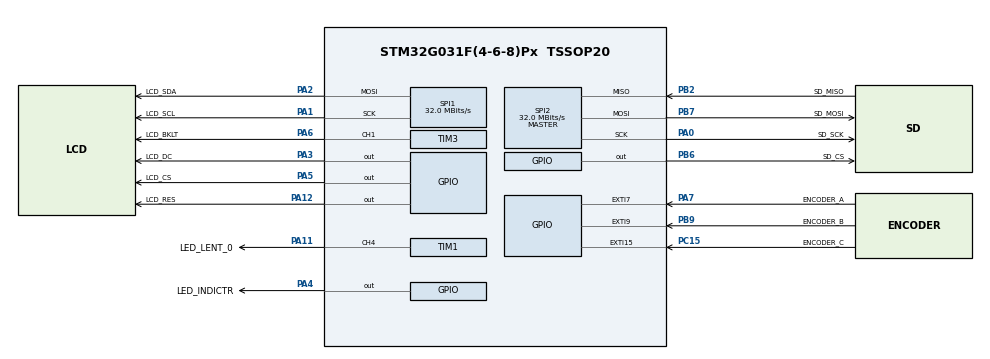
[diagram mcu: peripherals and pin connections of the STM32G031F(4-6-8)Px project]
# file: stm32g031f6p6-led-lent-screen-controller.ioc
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Dma.Request0=SPI1_TX
Dma.Request1=SPI2_RX
Dma.Request2=SPI2_TX
Dma.Request3=TIM1_CH4
Dma.SPI1_TX.0.Direction=DMA_MEMORY_TO_PERIPH
Dma.SPI1_TX.0.EventEnable=DISABLE
Dma.SPI1_TX.0.Instance=DMA1_Channel1
Dma.SPI1_TX.0.MemDataAlignment=DMA_MDATAALIGN_HALFWORD
Dma.SPI1_TX.0.MemInc=DMA_MINC_ENABLE
Dma.SPI1_TX.0.Mode=DMA_NORMAL
Dma.SPI1_TX.0.PeriphDataAlignment=DMA_PDATAALIGN_HALFWORD
Dma.SPI1_TX.0.PeriphInc=DMA_PINC_DISABLE
Dma.SPI1_TX.0.Polarity=HAL_DMAMUX_REQ_GEN_RISING
Dma.SPI1_TX.0.Priority=DMA_PRIORITY_LOW
Dma.SPI1_TX.0.RequestNumber=1
Dma.SPI1_TX.0.SignalID=NONE
Dma.SPI1_TX.0.SyncEnable=DISABLE
Dma.SPI1_TX.0.SyncPolarity=HAL_DMAMUX_SYNC_NO_EVENT
Dma.SPI1_TX.0.SyncRequestNumber=1
Dma.SPI1_TX.0.SyncSignalID=NONE
Dma.SPI2_RX.1.Direction=DMA_PERIPH_TO_MEMORY
Dma.SPI2_RX.1.EventEnable=DISABLE
Dma.SPI2_RX.1.Instance=DMA1_Channel2
Dma.SPI2_RX.1.MemDataAlignment=DMA_MDATAALIGN_BYTE
Dma.SPI2_RX.1.MemInc=DMA_MINC_ENABLE
Dma.SPI2_RX.1.Mode=DMA_NORMAL
Dma.SPI2_RX.1.PeriphDataAlignment=DMA_PDATAALIGN_BYTE
Dma.SPI2_RX.1.PeriphInc=DMA_PINC_DISABLE
Dma.SPI2_RX.1.Polarity=HAL_DMAMUX_REQ_GEN_RISING
Dma.SPI2_RX.1.Priority=DMA_PRIORITY_MEDIUM
Dma.SPI2_RX.1.RequestNumber=1
Dma.SPI2_RX.1.SignalID=NONE
Dma.SPI2_RX.1.SyncEnable=DISABLE
Dma.SPI2_RX.1.SyncPolarity=HAL_DMAMUX_SYNC_NO_EVENT
Dma.SPI2_RX.1.SyncRequestNumber=1
Dma.SPI2_RX.1.SyncSignalID=NONE
Dma.SPI2_TX.2.Direction=DMA_MEMORY_TO_PERIPH
Dma.SPI2_TX.2.EventEnable=DISABLE
Dma.SPI2_TX.2.Instance=DMA1_Channel3
Dma.SPI2_TX.2.MemDataAlignment=DMA_MDATAALIGN_BYTE
Dma.SPI2_TX.2.MemInc=DMA_MINC_ENABLE
Dma.SPI2_TX.2.Mode=DMA_NORMAL
Dma.SPI2_TX.2.PeriphDataAlignment=DMA_PDATAALIGN_BYTE
Dma.SPI2_TX.2.PeriphInc=DMA_PINC_DISABLE
Dma.SPI2_TX.2.Polarity=HAL_DMAMUX_REQ_GEN_RISING
Dma.SPI2_TX.2.Priority=DMA_PRIORITY_MEDIUM
Dma.SPI2_TX.2.RequestNumber=1
Dma.SPI2_TX.2.SignalID=NONE
Dma.SPI2_TX.2.SyncEnable=DISABLE
Dma.SPI2_TX.2.SyncPolarity=HAL_DMAMUX_SYNC_NO_EVENT
Dma.SPI2_TX.2.SyncRequestNumber=1
Dma.SPI2_TX.2.SyncSignalID=NONE
Dma.TIM1_CH4.3.Direction=DMA_MEMORY_TO_PERIPH
Dma.TIM1_CH4.3.EventEnable=DISABLE
Dma.TIM1_CH4.3.Instance=DMA1_Channel4
Dma.TIM1_CH4.3.MemDataAlignment=DMA_MDATAALIGN_HALFWORD
Dma.TIM1_CH4.3.MemInc=DMA_MINC_ENABLE
Dma.TIM1_CH4.3.Mode=DMA_CIRCULAR
Dma.TIM1_CH4.3.PeriphDataAlignment=DMA_PDATAALIGN_HALFWORD
Dma.TIM1_CH4.3.PeriphInc=DMA_PINC_DISABLE
Dma.TIM1_CH4.3.Polarity=HAL_DMAMUX_REQ_GEN_RISING
Dma.TIM1_CH4.3.Priority=DMA_PRIORITY_VERY_HIGH
Dma.TIM1_CH4.3.RequestNumber=1
Dma.TIM1_CH4.3.SignalID=NONE
Dma.TIM1_CH4.3.SyncEnable=DISABLE
Dma.TIM1_CH4.3.SyncPolarity=HAL_DMAMUX_SYNC_NO_EVENT
Dma.TIM1_CH4.3.SyncRequestNumber=1
Dma.TIM1_CH4.3.SyncSignalID=NONE
Mcu.Family=STM32G0
Mcu.Name=STM32G031F(4-6-8)Px
Mcu.Package=TSSOP20
NVIC.DMA1_Ch4_5_DMAMUX1_OVR_IRQn=true\:0\:0\:true\:false\:true\:false\:true\:true
NVIC.DMA1_Channel1_IRQn=true\:2\:0\:true\:false\:true\:false\:true\:true
NVIC.DMA1_Channel2_3_IRQn=true\:1\:0\:true\:false\:true\:false\:true\:true
NVIC.EXTI4_15_IRQn=true\:0\:0\:false\:false\:true\:true\:true\:true
PA0.GPIO_Label=SD_SCK
PA0.GPIO_PuPd=GPIO_PULLUP
PA0.GPIO_Speed=GPIO_SPEED_FREQ_VERY_HIGH
PA0.Mode=Full_Duplex_Master
PA0.Signal=SPI2_SCK
PA1.GPIO_Label=LCD_SCL
PA1.GPIO_PuPd=GPIO_PULLUP
PA1.GPIO_Speed=GPIO_SPEED_FREQ_VERY_HIGH
PA1.Mode=TX_Only_Simplex_Unidirect_Master
PA1.Signal=SPI1_SCK
PA11\ [PA9].GPIO_Label=LED_LENT_0
PA11\ [PA9].GPIO_ModeDefaultPP=GPIO_MODE_AF_OD
PA11\ [PA9].GPIO_Speed=GPIO_SPEED_FREQ_HIGH
PA11\ [PA9].Signal=S_TIM1_CH4
PA12\ [PA10].GPIO_Label=LCD_RES
PA12\ [PA10].GPIO_PuPd=GPIO_PULLUP
PA12\ [PA10].PinState=GPIO_PIN_SET
PA12\ [PA10].Signal=GPIO_Output
PA13.Mode=Serial_Wire
PA13.Signal=SYS_SWDIO
PA14-BOOT0.Mode=Serial_Wire
PA14-BOOT0.Signal=SYS_SWCLK
PA14-BOOT0__PA15.StandardMode=true
PA2.GPIO_Label=LCD_SDA
PA2.GPIO_PuPd=GPIO_PULLUP
PA2.GPIO_Speed=GPIO_SPEED_FREQ_VERY_HIGH
PA2.Mode=TX_Only_Simplex_Unidirect_Master
PA2.Signal=SPI1_MOSI
PA3.GPIO_Label=LCD_DC
PA3.GPIO_Speed=GPIO_SPEED_FREQ_HIGH
PA3.PinState=GPIO_PIN_SET
PA3.Signal=GPIO_Output
PA4.GPIO_Label=LED_INDICTR
PA4.GPIO_PuPd=GPIO_PULLUP
PA4.GPIO_Speed=GPIO_SPEED_FREQ_HIGH
PA4.PinState=GPIO_PIN_SET
PA4.Signal=GPIO_Output
PA5.GPIO_Label=LCD_CS
PA5.GPIO_PuPd=GPIO_PULLUP
PA5.GPIO_Speed=GPIO_SPEED_FREQ_HIGH
PA5.PinState=GPIO_PIN_SET
PA5.Signal=GPIO_Output
PA6.GPIO_Label=LCD_BKLT
PA6.Signal=S_TIM3_CH1
PA7.GPIO_Label=ENCODER_A
PA7.GPIO_ModeDefaultEXTI=GPIO_MODE_IT_RISING_FALLING
PA7.GPIO_PuPd=GPIO_PULLUP
PA7.Signal=GPXTI7
PB0__PB1__PB2__PA8.StandardMode=true
PB2.GPIO_Label=SD_MISO
PB2.GPIO_PuPd=GPIO_PULLUP
PB2.GPIO_Speed=GPIO_SPEED_FREQ_VERY_HIGH
PB2.Mode=Full_Duplex_Master
PB2.Signal=SPI2_MISO
PB3__PB4__PB5__PB6.StandardMode=true
PB6.GPIO_Label=SD_CS
PB6.GPIO_PuPd=GPIO_PULLUP
PB6.GPIO_Speed=GPIO_SPEED_FREQ_HIGH
PB6.PinState=GPIO_PIN_SET
PB6.Signal=GPIO_Output
PB7.GPIO_Label=SD_MOSI
PB7.GPIO_PuPd=GPIO_PULLUP
PB7.GPIO_Speed=GPIO_SPEED_FREQ_VERY_HIGH
PB7.Mode=Full_Duplex_Master
PB7.Signal=SPI2_MOSI
PB7__PB8.StandardMode=true
PB9.GPIO_Label=ENCODER_B
PB9.GPIO_ModeDefaultEXTI=GPIO_MODE_IT_RISING_FALLING
PB9.GPIO_PuPd=GPIO_PULLUP
PB9.Signal=GPXTI9
PC14-OSC32_IN\ (PC14)__PB9.StandardMode=true
PC15-OSC32_OUT\ (PC15).GPIO_Label=ENCODER_C
PC15-OSC32_OUT\ (PC15).GPIO_ModeDefaultEXTI=GPIO_MODE_IT_RISING_FALLING
PC15-OSC32_OUT\ (PC15).GPIO_PuPd=GPIO_PULLUP
PC15-OSC32_OUT\ (PC15).Signal=GPXTI15
ProjectManager.HeapSize=0x200
ProjectManager.StackSize=0x400
ProjectManager.TargetToolchain=STM32CubeIDE
RCC.ADCFreq_Value=64000000
RCC.AHBFreq_Value=64000000
RCC.CortexFreq_Value=64000000
RCC.EXTERNAL_CLOCK_VALUE=12288000
RCC.HCLKFreq_Value=64000000
RCC.HSE_VALUE=8000000
RCC.HSI_VALUE=16000000
RCC.LSE_VALUE=32768
RCC.PLLQ=RCC_PLLQ_DIV4
RCC.SYSCLKFreq_VALUE=64000000
RCC.SYSCLKSource=RCC_SYSCLKSOURCE_PLLCLK
RCC.VCOOutputFreq_Value=128000000
SH.S_TIM1_CH4.0=TIM1_CH4,PWM Generation4 CH4
SH.S_TIM3_CH1.0=TIM3_CH1,PWM Generation1 CH1
SPI1.CLKPolarity=SPI_POLARITY_HIGH
SPI1.CalculateBaudRate=32.0 MBits/s
SPI1.DataSize=SPI_DATASIZE_16BIT
SPI1.Direction=SPI_DIRECTION_2LINES
SPI1.Mode=SPI_MODE_MASTER
SPI1.VirtualType=VM_MASTER
SPI2.BaudRatePrescaler=SPI_BAUDRATEPRESCALER_2
SPI2.CalculateBaudRate=32.0 MBits/s
SPI2.Direction=SPI_DIRECTION_2LINES
SPI2.Mode=SPI_MODE_MASTER
SPI2.VirtualType=VM_MASTER
TIM1.Channel-PWM\ Generation4\ CH4=TIM_CHANNEL_4
TIM1.Period=79
TIM1.Prescaler=0
TIM1.Pulse-PWM\ Generation4\ CH4=39
TIM3.Channel-PWM\ Generation1\ CH1=TIM_CHANNEL_1
TIM3.Period=159
TIM3.Prescaler=999
TIM3.Pulse-PWM\ Generation1\ CH1=79
board=custom

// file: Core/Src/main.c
/* USER CODE BEGIN Header */
/*
 *  Copyright (C) 2019 - 2023, VadRov, all right reserved.
 *
 *  LED-контроллер для отображения графической информации на экране, состоящем из
 *  соединенных последовательно лент с адресными светодиодами на чипе ws2812b.
 *
 *  Допускается свободное распространение. При любом способе распространения указание
 *  автора ОБЯЗАТЕЛЬНО. В случае внесения изменений и распространения модификаций
 *  указание первоначального автора ОБЯЗАТЕЛЬНО. Распространяется по типу "как есть",
 *  то есть использование осуществляется на свой страх и риск.
 *  Автор не предоставляет никаких гарантий.
 *
 *  Версия: 1.1G0 (для STM32G0)
 *
 *  Общая информация
 *  LED-контроллер отображает на экране информацию из AVI-файла (файл с расширением avi,
 *  контейнер riff), кадры которого представляют собой изображения в формате несжатого
 *  bmp (данные пикселей в файле хранятся как двумерный массив).
 *  LED-контроллер собран на монтажной плате с использованием отладочного мудуля на базе
 *  микроконтроллера STM32G031F6P6/STM32G031F8P6. К микроконтроллеру подключен дисплей
 *  ST7789 (через spi), модуль (адаптер/переходник на micro-SD) SD-карты (через spi),
 *  инкрементарный механический энкодер с кнопкой. В контроллере реализован файловый менеджер
 *  с графическим интерфейсом для просмотра содержимого sd-карты и выбора файлов для
 *  воспроизведения на LED-экране. Контроллер имеет 1 выход (порт) для управления адресными
 *  светодиодными лентами. Протокол управления адресными светодиодными лентами реализован
 *  посредством PWM c DMA с таймингами управляющего сигнала, соответствующими спецификации
 *  модулей ws2812b. Для корректной передачи сигналов на первый адресный чип, выходной порт
 *  контроллера реализован по схеме открытый сток и подтянут к питанию +5В (резистор R2 на схеме),
 *  что обеспечивает уровни сигналов на входе DIN, соответствующими спецификации ws2812b.
 *  Резистор R1 ограничивает ток, проходящий через выходной вывод микроконтроллера и предохраняет
 *  его от повреждения в том случае, например, если пользователь захочет обновить ПО
 *  микроконтроллера, забыв при этом отключить его от экрана с отключенным питанием (в этом случае
 *  лента будет "тянуть питание" через этот вывод, и он может "выгореть" при превышении
 *  допустимого значения тока).
 *  Перемещение по файлам и каталогам в файловом менеджере осуществляется путем вращения
 *  ручки энкодера. Выбор avi-файла для воспроизведения или переход в подкаталог(возврат в каталог)
 *  осуществляется коротким нажатием (кликом) кнопки энкодера. Для остановки воспроизведения
 *  текущего файла следует длительно (2 и более секунд) удерживать нажатой, а затем отпустить
 *  кнопку энкодера.
 *
 *  Подготовка файлов для воспроизведения
 *  Как было отмечено выше, LED-контроллер воспроизводит AVI-файлы (файл с расширением avi,
 *  контейнер riff). Формат файла должен соответствовать спецификации microsoft. При этом кадры
 *  видеопотока AVI-файла должны быть в формате несжатого BMP (несжатые данные RGB, хранящиеся
 *  последовательно, как двумерный массив). Для генерации последовательности BMP-изображений
 *  (цветовые эффекты, бегущие строки и т.д.), формирующих непрервывный видеоряд, можно, например,
 *  воспользоваться программой Jinx!. Настройка Jinx! заключается в определении опций матрицы
 *  (ширина и высота матрицы в пикселях - в нашем случае выражается в количестве светодиодных
 *  модулей на экране по горизонтали и вертикали), а также свойств выводного устройства
 *  (куда и как сохранять изображения). Размеры матрицы задаются через Setup->Matrix Options.
 *  Параметры устройства вывода определяются через Setup->Output Devices, где следует выбрать Add.
 *  Затем в списке Devices Type выбирается пункт Bitmap Export. Требуемый каталог для хранения
 *  последовательности изображений задают через кнопку Select. Выбрав и настроив требуемый эффект,
 *  можно стартовать запись кадров в указанный каталог. Для этого необходимо выбрать в меню
 *  Setup->Start Output. По просшествии требуемого периода времени, запись можно остановить,
 *  снова выбрав в меню Setup->Start Output.
 *  Полученные кадры изображения можно "склеить" в один AVI-файл. Для этого можно использовать
 *  библиотеку ffmpeg, введя, например, такую командную строку, находясь в каталоге с картинками:
 *  	ffmpeg -i %8d.bmp -r 25 -vcodec bmp video.avi
 *  где:
 *	-i %8d.bmp - входные данные (файлы-картинки). %8d означает, что имя файла состоит из 8-значного числа;
 *	-r 25 - частота кадров (25 кадров/секунду) в получаемом видеофайле (этот параметр указан в окне Jinx!);
 *	-vcodec bmp - используется кодек bmp (указание на то, что используются несжатые данные RGB);
 *	video.avi - название выходного (целевого) файла.
 *	Другой способ получения требуемого формата изображения для LED-контроллера и крана заключается
 *	в конвертации любого видеофайла той же библиотекой ffmpeg. Например:
 *		ffmpeg -i file.mp4 -r 25 -vcodec bmp -s 60x20 video.avi
 *	где:
 *	-i file.mp4 - входной видеофайл;
 *	-r 25 - частота кадров (25 кадров/секунду) - Вы можете, например, ограничить частоту кадров;
 *	-vcodec bmp - используется кодек bmp (указание на то, что используются несжатые данные RGB);
 *	-s 60x20 - размер кадра 60 на 20 пикселей (один пиксель соответствует одному светодиодному модулю);
 *	video.avi - название выходного (целевого) файла.
 *	Дополнительной опцией -an можно исключать звуковую дорожку из файла.
 *
 *	Компоненты:
 *	- Отладочная плата (МК) STM32G031F6P6/STM32G031F8P6;
 *	- SPI дисплей на контроллере ST7789 разрешением 240x240;
 *	- Адаптер/переходник с SD карты на микро-SD;
 *	- Инкрементарный механический энкодер;
 *	- 2 резистора с номиналами: 390-680 Ом и 4.7-8.2 кОм;
 *	- Адресные светодиодные ленты для формирования экрана (в данном проекте используется 20 лент
 *	по 60 адресных светодиодов на чипе ws2812b. Итого 1200 адресных светодиода для экрана с
 *	разрешением 60х20);
 *	- Блок питания на 5В для запитывания контроллера и экрана из расчета 0.3 Вт на один модуль
 *	ws2812b (в данном проетке используется блок питания на 350 Вт. При свечении всех модулей
 *	белым цветом просадок по напряжению нет).
 *
 *	Вариант LED-экрана из лент с адресными светодиодами
 *	В данном проекте основой для крепления светодиодных лент служит обычный б/у пластиковый подоконник
 *	окрашенный в черный матовый цвет (с предварительным нанесением праймера для пластика). Пиксели
 *	экрана сформированы 20 отрезками метровых лент по 60 светодиодных модулей в каждой (всего 1200 модулей).
 *	Светодиодные ленты закреплены к основе (окрашенному подоконнику) с помощью двустороннего скотча по
 *	предварительно нанесенной разметке. Питание к лентам подведено с двух сторон, что исключает просадки
 *	напряжения в различных участках ленты.
 *
 *  https://www.youtube.com/@VadRov
 *  https://dzen.ru/vadrov
 *  https://vk.com/vadrov
 *  https://t.me/vadrov_channel
 *
 */
/* USER CODE END Header */
#include "main.h"

/* USER CODE BEGIN Includes */
#include "display.h"
#include "st7789.h"
#include <stdlib.h>
#include "filemanager.h"
#include "keyboard.h"
#include "encoder.h"
#include "ws2812b.h"
#include "avi.h"
#include "ff.h"
/* USER CODE END Includes */

/* USER CODE BEGIN PD */

//счетчик "системного времени", мс
volatile uint32_t millis = 0;

//Переменные для библиотеки FatFs
char Path[4];
FATFS FatFS;

//Обработчик энкодера
ENCODER_Handler encoder1;

#define FONT_DEFAULT	Font_8x13

/* USER CODE END PD */

void SystemClock_Config(void);
static void MX_GPIO_Init(void);
static void MX_DMA_Init(void);
static void MX_SPI1_Init(void);
static void MX_TIM3_Init(void);
static void MX_SPI2_Init(void);
static void MX_TIM1_Init(void);

int main(void)
{
    /* USER CODE BEGIN 1 */
	//Включение буфера предварительной выборки
	FLASH->ACR |= FLASH_ACR_PRFTEN;
	//Включение кеша инструкций
	FLASH->ACR |= FLASH_ACR_ICEN;
  /* USER CODE END 1 */

  /* MCU Configuration--------------------------------------------------------*/

  /* Reset of all peripherals, Initializes the Flash interface and the Systick. */
  LL_APB2_GRP1_EnableClock(LL_APB2_GRP1_PERIPH_SYSCFG);
  LL_APB1_GRP1_EnableClock(LL_APB1_GRP1_PERIPH_PWR);

  /* SysTick_IRQn interrupt configuration */
  NVIC_SetPriority(SysTick_IRQn, 3);

  /* Configure the system clock */
  SystemClock_Config();

  /* USER CODE BEGIN SysInit */
  //настраиваем системный таймер (прерывания 1000 раз в секунду)
  SysTick_Config(SystemCoreClock/1000);
  /* USER CODE END SysInit */

  /* Initialize all configured peripherals */
  MX_GPIO_Init();
  MX_DMA_Init();
  MX_SPI1_Init();
  MX_TIM3_Init();
  MX_SPI2_Init();
  MX_TIM1_Init();
  /* USER CODE BEGIN 2 */
  LCD_DMA_TypeDef dma_tx = { .dma =     DMA1,
		  	  	  	  	  	 .channel = 1 };

  LCD_BackLight_data bkl_data = { .tim_bk =         TIM3,
		  	  	  	  	  	  	  .channel_tim_bk = 1,
								  .blk_port =       0,
								  .blk_pin =        0,
								  .bk_percent =     80 };

  LCD_SPI_Connected_data spi_con = { .spi =        SPI1,
		  	  	  	  	  	  	  	 .dma_tx =     dma_tx,
									 .reset_port = LCD_RES_GPIO_Port,
									 .reset_pin =  LCD_RES_Pin,
									 .dc_port =    LCD_DC_GPIO_Port,
									 .dc_pin =     LCD_DC_Pin,
									 .cs_port =    LCD_CS_GPIO_Port,
								 	 .cs_pin =     LCD_CS_Pin };

#ifndef LCD_DYNAMIC_MEM
  LCD_Handler lcd1;
#endif

/*  Для дисплея на контроллере ST7789   */
  LCD = LCD_DisplayAdd( LCD,
#ifndef LCD_DYNAMIC_MEM
		  	  	  	  	&lcd1,
#endif
		  	  	  	  	240,
		   				240,
						ST7789_CONTROLLER_WIDTH,
						ST7789_CONTROLLER_HEIGHT,
						//Задаем смещение по ширине и высоте для нестандартных или бракованных дисплеев:
						0,		//смещение по ширине дисплейной матрицы
						0,		//смещение по высоте дисплейной матрицы
						PAGE_ORIENTATION_PORTRAIT,
						ST7789_Init,
						ST7789_SetWindow,
						ST7789_SleepIn,
						ST7789_SleepOut,
						&spi_con,
						LCD_DATA_16BIT_BUS,
						bkl_data );
  /*  Для дисплея на контроллере ILI9341   */
/*
  LCD = LCD_DisplayAdd( LCD,
#ifndef LCD_DYNAMIC_MEM
		  	  	  	  	&lcd1,
#endif
		  	  	  	  	320,
		   				240,
						ILI9341_CONTROLLER_WIDTH,
						ILI9341_CONTROLLER_HEIGHT,
						//Задаем смещение по ширине и высоте для нестандартных или бракованных дисплеев:
						0,		//смещение по ширине дисплейной матрицы
						0,		//смещение по высоте дисплейной матрицы
						//PAGE_ORIENTATION_PORTRAIT_MIRROR,
						PAGE_ORIENTATION_LANDSCAPE,
						ILI9341_Init,
						ILI9341_SetWindow,
						ILI9341_SleepIn,
						ILI9341_SleepOut,
						&spi_con,
						LCD_DATA_16BIT_BUS,
						bkl_data );
*/
    LCD_Handler *lcd = LCD; //указатель на первый дисплей в списке
  	LCD_Init(lcd);
	LCD_Fill(lcd, COLOR_BLACK);
	//------------------------------------------------------------------------------------------

	//-------------------------------- Информация об устройстве --------------------------------
	LCD_WriteString(lcd, 0, 0, "LED Panel Driver V1.1G0", &FONT_DEFAULT, COLOR_YELLOW, COLOR_BLACK, LCD_SYMBOL_PRINT_FAST);
	lcd->AtPos.y += FONT_DEFAULT.height;
	LCD_WriteString(lcd, 0, lcd->AtPos.y, "Copyright (C) 2023, VadRov", &FONT_DEFAULT, COLOR_CYAN, COLOR_BLACK, LCD_SYMBOL_PRINT_FAST);
	lcd->AtPos.y += FONT_DEFAULT.height;
	LL_mDelay(2000);

	//----------------------------------- Монтирование диска -----------------------------------
	if (f_mount(&FatFS, Path, 1) != FR_OK) {
		LCD_WriteString(lcd, 0, lcd->AtPos.y, "Disk error!", &FONT_DEFAULT, COLOR_RED, COLOR_BLACK, LCD_SYMBOL_PRINT_FAST);
		lcd->AtPos.y += FONT_DEFAULT.height;
		LCD_WriteString(lcd, 0, lcd->AtPos.y,"Insert new disk and press reset...", &FONT_DEFAULT, COLOR_YELLOW,	0x319bb1, LCD_SYMBOL_PRINT_FAST);
		while (1) ;
	}
	//------------------------------------------------------------------------------------------

	//----------------------------- Настройка файлового менеджера ------------------------------
	/* Определение цветовой схемы */
	File_Manager_Color_Scheme color_scheme_pl = { COLOR_YELLOW,		/* цвет текста наименования каталога */
			  	  	  	  	  	  	  	  	  	  COLOR_WHITE,		/* цвет текста наименования файла */
												  COLOR_BLACK,		/* цвет текста выбранного файла/каталога */
												  0x319bb1,			/* цвет фона окна менеджера (для пустых строк) */
												  0x319bb1,			/* цвет фона четных строк */
												  0x319bb1,			/* цвет фона нечетных строк */
												  COLOR_LIGHTGREY,	/* цвет курсора текущего файла/каталога */
												  COLOR_LIGHTGREY,	/* цвет ползунка вертикальной прокрутки */
												  0x319bb1,			/* цвет полосы вертикальной прокрутки */
												  1					/* флаг закрашивания курсора:
																  	  	  0 - текст выбранного файла/каталога обводится
																  	  	  	  прямоугольником цвета курсора (cursor_color).
														 	 	  	  	  >0 - фон текста выбранного файла/каталога приравнивается
														 	 	  	  	  	  цвету курсора (cursor_color) */
												 	 };

	File_Manager_Handler *fm = FileManagerNew();	/* Создание обработчика файлового менеджера */
	fm->SetDisplay(fm, lcd);						/* Дисплей, на который выводится файловый менеджер (указатель) */
	fm->SetWin(fm, 0, 0, lcd->Width, lcd->Height);  /* Параметры окна файлового менеджера:
	  	  	  	  	  	  	  	  	  	  	  	  	   - позиция левого верхнего угла окна по горизонтали;
	  	  	  	  	  	  	  	  	  	  	  	  	   - позиция левого верхнего угла окна по вертикали;
	  	  	  	  	  	  	  	  	  	  	  	  	   - ширина окна;
	  	  	  	  	  	  	  	  	  	  	  	  	   - высота окна. */
	fm->SetColor(fm, &color_scheme_pl);				 /* Цветовая схема (указатель) */
	fm->SetFont(fm, &FONT_DEFAULT);					 /* Шрифт (указатель) */
	fm->SetKeys(fm, KEYB_UP, KEYB_DOWN, KEYB_RIGHT); /* Кнопки управления:
	   	   	   	   	   	   	   	   	   	   	   	   	    - номер бита кнопки вверх;
	   	   	   	   	   	   	   	   	   	   	   	   	    - номер бита кнопки вниз;
	   	   	   	   	   	   	   	   	   	   	   	   	    - номер бита кнопки ввод/выбор. */
	//-----------------------------------------------------------------------------------------

	//----------------------------------- Настройка энкодера ----------------------------------
	//Будем работать с модулем Keyboard и эмулировать для него нажатие кнопок через
	//специальную функцию, связывающую обработчик энкодера с модулем для работы с кнопками.
	//Такую роль выполняет функция EncoderEventToKeyboard, находящаяся в файле stm32f4xx_it.c
	KEYB_all_button = 3; //Используем 3 кнопки для модуля Keyboard
	//Инициализируем обработчик энкодера
	EncoderInit(&encoder1,
				ENCODER_A_GPIO_Port,
				ENCODER_A_Pin,
				ENCODER_B_GPIO_Port,
				ENCODER_B_Pin,
				ENCODER_C_GPIO_Port,
				ENCODER_C_Pin);
	EncoderSetInversion(&encoder1, ENCODER_INV_ON); //Если энкодер работает в противоположную сторону
													 //от ожидаемого направления, то здесь можно задать
													 //инверсию для энкодера, передав функции параметр ENCODER_INV_ON.
													 //Это позволит не переподключать выводы энкодера A и B.
	//------------------------------------------------------------------------------------------

	//------------------------------- Создание LED устройства ----------------------------------
	//Создание LED портов с учетом возможностей периферии (наличие свободных таймеров с каналами PWM DMA)
	LED_Port *ports = LED_AddNewPort(0, 1200, TIM1, LL_TIM_CHANNEL_CH4, DMA1, LL_DMA_CHANNEL_4);
	//LED_Handler *led = LED_CreateDevice(LED_LEFTtoRIGHT_UPtoDOWN, 60, 255, ports);
	LED_Handler *led = LED_CreateDevice(LED_DOWNtoUP_LEFTtoRIGHT, 60, 63, ports);
	if (!led) {
		LCD_WriteString(lcd, 0, lcd->AtPos.y, "Error! Failed to create device!", &FONT_DEFAULT, COLOR_RED, COLOR_BLACK, LCD_SYMBOL_PRINT_FAST);
		while (1) ;
	}
	LED_StartDevice(led);
	//--------------------------------------------------------------------------------------------

  /* USER CODE END 2 */

  /* Infinite loop */
  /* USER CODE BEGIN WHILE */
  while (1)
  {
		/* Заливаем дисплей синим цветом (цветом фона файлового менеджера) */
		LCD_Fill(lcd, 0x319bb1);
		/* Запуск менеджера файлов */
		fm->Show(fm);
		/* Проверка статуса завершения работы менеджера файлов */
		if (fm->GetStatus(fm) == File_Manager_OK) { /* Завершение без ошибок с выбором файла? */
			LCD_SleepIn(lcd);
			while (!PlayAVI(fm->GetFilePath(fm), fm->GetFileName(fm), led, 0, 0, led->width, led->height)) { ; }
			LCD_SleepOut(lcd);
		}
		else {
			/* Выводим сообщение, что работа файлового менеджера завершена с ошибкой */
			LCD_WriteString(lcd, 0, 0, "Error FileManager!",
							fm->font, fm->color_scheme->text_color_file,
					        fm->color_scheme->bg_color, LCD_SYMBOL_PRINT_FAST);
			/* Ожидаем нажатия любой кнопки */
			while(!KEYB_kbhit()) ;
			(void)KEYB_Inkeys();
		}
    /* USER CODE END WHILE */

  }
}

void SystemClock_Config(void)
{
  LL_FLASH_SetLatency(LL_FLASH_LATENCY_2);
  while(LL_FLASH_GetLatency() != LL_FLASH_LATENCY_2)
  {
  }

  /* HSI configuration and activation */
  LL_RCC_HSI_Enable();
  while(LL_RCC_HSI_IsReady() != 1)
  {
  }

  /* Main PLL configuration and activation */
  LL_RCC_PLL_ConfigDomain_SYS(LL_RCC_PLLSOURCE_HSI, LL_RCC_PLLM_DIV_1, 8, LL_RCC_PLLR_DIV_2);
  LL_RCC_PLL_Enable();
  LL_RCC_PLL_EnableDomain_SYS();
  while(LL_RCC_PLL_IsReady() != 1)
  {
  }

  /* Set AHB prescaler*/
  LL_RCC_SetAHBPrescaler(LL_RCC_SYSCLK_DIV_1);

  /* Sysclk activation on the main PLL */
  LL_RCC_SetSysClkSource(LL_RCC_SYS_CLKSOURCE_PLL);
  while(LL_RCC_GetSysClkSource() != LL_RCC_SYS_CLKSOURCE_STATUS_PLL)
  {
  }

  /* Set APB1 prescaler*/
  LL_RCC_SetAPB1Prescaler(LL_RCC_APB1_DIV_1);

  LL_Init1msTick(64000000);

  /* Update CMSIS variable (which can be updated also through SystemCoreClockUpdate function) */
  LL_SetSystemCoreClock(64000000);
}

static void MX_SPI1_Init(void)
{

  LL_SPI_InitTypeDef SPI_InitStruct = {0};

  LL_GPIO_InitTypeDef GPIO_InitStruct = {0};

  /* Peripheral clock enable */
  LL_APB2_GRP1_EnableClock(LL_APB2_GRP1_PERIPH_SPI1);

  LL_IOP_GRP1_EnableClock(LL_IOP_GRP1_PERIPH_GPIOA);
  /**SPI1 GPIO Configuration
  PA1   ------> SPI1_SCK
  PA2   ------> SPI1_MOSI
  */
  GPIO_InitStruct.Pin = LCD_SCL_Pin;
  GPIO_InitStruct.Mode = LL_GPIO_MODE_ALTERNATE;
  GPIO_InitStruct.Speed = LL_GPIO_SPEED_FREQ_VERY_HIGH;
  GPIO_InitStruct.OutputType = LL_GPIO_OUTPUT_PUSHPULL;
  GPIO_InitStruct.Pull = LL_GPIO_PULL_UP;
  GPIO_InitStruct.Alternate = LL_GPIO_AF_0;
  LL_GPIO_Init(LCD_SCL_GPIO_Port, &GPIO_InitStruct);

  GPIO_InitStruct.Pin = LCD_SDA_Pin;
  GPIO_InitStruct.Mode = LL_GPIO_MODE_ALTERNATE;
  GPIO_InitStruct.Speed = LL_GPIO_SPEED_FREQ_VERY_HIGH;
  GPIO_InitStruct.OutputType = LL_GPIO_OUTPUT_PUSHPULL;
  GPIO_InitStruct.Pull = LL_GPIO_PULL_UP;
  GPIO_InitStruct.Alternate = LL_GPIO_AF_0;
  LL_GPIO_Init(LCD_SDA_GPIO_Port, &GPIO_InitStruct);

  /* SPI1 DMA Init */

  /* SPI1_TX Init */
  LL_DMA_SetPeriphRequest(DMA1, LL_DMA_CHANNEL_1, LL_DMAMUX_REQ_SPI1_TX);

  LL_DMA_SetDataTransferDirection(DMA1, LL_DMA_CHANNEL_1, LL_DMA_DIRECTION_MEMORY_TO_PERIPH);

  LL_DMA_SetChannelPriorityLevel(DMA1, LL_DMA_CHANNEL_1, LL_DMA_PRIORITY_LOW);

  LL_DMA_SetMode(DMA1, LL_DMA_CHANNEL_1, LL_DMA_MODE_NORMAL);

  LL_DMA_SetPeriphIncMode(DMA1, LL_DMA_CHANNEL_1, LL_DMA_PERIPH_NOINCREMENT);

  LL_DMA_SetMemoryIncMode(DMA1, LL_DMA_CHANNEL_1, LL_DMA_MEMORY_INCREMENT);

  LL_DMA_SetPeriphSize(DMA1, LL_DMA_CHANNEL_1, LL_DMA_PDATAALIGN_HALFWORD);

  LL_DMA_SetMemorySize(DMA1, LL_DMA_CHANNEL_1, LL_DMA_MDATAALIGN_HALFWORD);

  /* SPI1 parameter configuration*/
  SPI_InitStruct.TransferDirection = LL_SPI_FULL_DUPLEX;
  SPI_InitStruct.Mode = LL_SPI_MODE_MASTER;
  SPI_InitStruct.DataWidth = LL_SPI_DATAWIDTH_16BIT;
  SPI_InitStruct.ClockPolarity = LL_SPI_POLARITY_HIGH;
  SPI_InitStruct.ClockPhase = LL_SPI_PHASE_1EDGE;
  SPI_InitStruct.NSS = LL_SPI_NSS_SOFT;
  SPI_InitStruct.BaudRate = LL_SPI_BAUDRATEPRESCALER_DIV2;
  SPI_InitStruct.BitOrder = LL_SPI_MSB_FIRST;
  SPI_InitStruct.CRCCalculation = LL_SPI_CRCCALCULATION_DISABLE;
  SPI_InitStruct.CRCPoly = 7;
  LL_SPI_Init(SPI1, &SPI_InitStruct);
  LL_SPI_SetStandard(SPI1, LL_SPI_PROTOCOL_MOTOROLA);
  LL_SPI_EnableNSSPulseMgt(SPI1);

}

static void MX_SPI2_Init(void)
{

  LL_SPI_InitTypeDef SPI_InitStruct = {0};

  LL_GPIO_InitTypeDef GPIO_InitStruct = {0};

  /* Peripheral clock enable */
  LL_APB1_GRP1_EnableClock(LL_APB1_GRP1_PERIPH_SPI2);

  LL_IOP_GRP1_EnableClock(LL_IOP_GRP1_PERIPH_GPIOB);
  LL_IOP_GRP1_EnableClock(LL_IOP_GRP1_PERIPH_GPIOA);
  /**SPI2 GPIO Configuration
  PB7   ------> SPI2_MOSI
  PA0   ------> SPI2_SCK
  PB2   ------> SPI2_MISO
  */
  GPIO_InitStruct.Pin = SD_MOSI_Pin;
  GPIO_InitStruct.Mode = LL_GPIO_MODE_ALTERNATE;
  GPIO_InitStruct.Speed = LL_GPIO_SPEED_FREQ_VERY_HIGH;
  GPIO_InitStruct.OutputType = LL_GPIO_OUTPUT_PUSHPULL;
  GPIO_InitStruct.Pull = LL_GPIO_PULL_UP;
  GPIO_InitStruct.Alternate = LL_GPIO_AF_1;
  LL_GPIO_Init(SD_MOSI_GPIO_Port, &GPIO_InitStruct);

  GPIO_InitStruct.Pin = SD_SCK_Pin;
  GPIO_InitStruct.Mode = LL_GPIO_MODE_ALTERNATE;
  GPIO_InitStruct.Speed = LL_GPIO_SPEED_FREQ_VERY_HIGH;
  GPIO_InitStruct.OutputType = LL_GPIO_OUTPUT_PUSHPULL;
  GPIO_InitStruct.Pull = LL_GPIO_PULL_UP;
  GPIO_InitStruct.Alternate = LL_GPIO_AF_0;
  LL_GPIO_Init(SD_SCK_GPIO_Port, &GPIO_InitStruct);

  GPIO_InitStruct.Pin = SD_MISO_Pin;
  GPIO_InitStruct.Mode = LL_GPIO_MODE_ALTERNATE;
  GPIO_InitStruct.Speed = LL_GPIO_SPEED_FREQ_VERY_HIGH;
  GPIO_InitStruct.OutputType = LL_GPIO_OUTPUT_PUSHPULL;
  GPIO_InitStruct.Pull = LL_GPIO_PULL_UP;
  GPIO_InitStruct.Alternate = LL_GPIO_AF_1;
  LL_GPIO_Init(SD_MISO_GPIO_Port, &GPIO_InitStruct);

  /* SPI2 DMA Init */

  /* SPI2_RX Init */
  LL_DMA_SetPeriphRequest(DMA1, LL_DMA_CHANNEL_2, LL_DMAMUX_REQ_SPI2_RX);

  LL_DMA_SetDataTransferDirection(DMA1, LL_DMA_CHANNEL_2, LL_DMA_DIRECTION_PERIPH_TO_MEMORY);

  LL_DMA_SetChannelPriorityLevel(DMA1, LL_DMA_CHANNEL_2, LL_DMA_PRIORITY_MEDIUM);

  LL_DMA_SetMode(DMA1, LL_DMA_CHANNEL_2, LL_DMA_MODE_NORMAL);

  LL_DMA_SetPeriphIncMode(DMA1, LL_DMA_CHANNEL_2, LL_DMA_PERIPH_NOINCREMENT);

  LL_DMA_SetMemoryIncMode(DMA1, LL_DMA_CHANNEL_2, LL_DMA_MEMORY_INCREMENT);

  LL_DMA_SetPeriphSize(DMA1, LL_DMA_CHANNEL_2, LL_DMA_PDATAALIGN_BYTE);

  LL_DMA_SetMemorySize(DMA1, LL_DMA_CHANNEL_2, LL_DMA_MDATAALIGN_BYTE);

  /* SPI2_TX Init */
  LL_DMA_SetPeriphRequest(DMA1, LL_DMA_CHANNEL_3, LL_DMAMUX_REQ_SPI2_TX);

  LL_DMA_SetDataTransferDirection(DMA1, LL_DMA_CHANNEL_3, LL_DMA_DIRECTION_MEMORY_TO_PERIPH);

  LL_DMA_SetChannelPriorityLevel(DMA1, LL_DMA_CHANNEL_3, LL_DMA_PRIORITY_MEDIUM);

  LL_DMA_SetMode(DMA1, LL_DMA_CHANNEL_3, LL_DMA_MODE_NORMAL);

  LL_DMA_SetPeriphIncMode(DMA1, LL_DMA_CHANNEL_3, LL_DMA_PERIPH_NOINCREMENT);

  LL_DMA_SetMemoryIncMode(DMA1, LL_DMA_CHANNEL_3, LL_DMA_MEMORY_INCREMENT);

  LL_DMA_SetPeriphSize(DMA1, LL_DMA_CHANNEL_3, LL_DMA_PDATAALIGN_BYTE);

  LL_DMA_SetMemorySize(DMA1, LL_DMA_CHANNEL_3, LL_DMA_MDATAALIGN_BYTE);

  /* SPI2 parameter configuration*/
  SPI_InitStruct.TransferDirection = LL_SPI_FULL_DUPLEX;
  SPI_InitStruct.Mode = LL_SPI_MODE_MASTER;
  SPI_InitStruct.DataWidth = LL_SPI_DATAWIDTH_8BIT;
  SPI_InitStruct.ClockPolarity = LL_SPI_POLARITY_LOW;
  SPI_InitStruct.ClockPhase = LL_SPI_PHASE_1EDGE;
  SPI_InitStruct.NSS = LL_SPI_NSS_SOFT;
  SPI_InitStruct.BaudRate = LL_SPI_BAUDRATEPRESCALER_DIV2;
  SPI_InitStruct.BitOrder = LL_SPI_MSB_FIRST;
  SPI_InitStruct.CRCCalculation = LL_SPI_CRCCALCULATION_DISABLE;
  SPI_InitStruct.CRCPoly = 7;
  LL_SPI_Init(SPI2, &SPI_InitStruct);
  LL_SPI_SetStandard(SPI2, LL_SPI_PROTOCOL_MOTOROLA);
  LL_SPI_EnableNSSPulseMgt(SPI2);

}

static void MX_TIM1_Init(void)
{

  LL_TIM_InitTypeDef TIM_InitStruct = {0};
  LL_TIM_OC_InitTypeDef TIM_OC_InitStruct = {0};
  LL_TIM_BDTR_InitTypeDef TIM_BDTRInitStruct = {0};

  LL_GPIO_InitTypeDef GPIO_InitStruct = {0};

  LL_RCC_SetTIMClockSource(LL_RCC_TIM1_CLKSOURCE_PCLK1);

  /* Peripheral clock enable */
  LL_APB2_GRP1_EnableClock(LL_APB2_GRP1_PERIPH_TIM1);

  /* TIM1 DMA Init */

  /* TIM1_CH4 Init */
  LL_DMA_SetPeriphRequest(DMA1, LL_DMA_CHANNEL_4, LL_DMAMUX_REQ_TIM1_CH4);

  LL_DMA_SetDataTransferDirection(DMA1, LL_DMA_CHANNEL_4, LL_DMA_DIRECTION_MEMORY_TO_PERIPH);

  LL_DMA_SetChannelPriorityLevel(DMA1, LL_DMA_CHANNEL_4, LL_DMA_PRIORITY_VERYHIGH);

  LL_DMA_SetMode(DMA1, LL_DMA_CHANNEL_4, LL_DMA_MODE_CIRCULAR);

  LL_DMA_SetPeriphIncMode(DMA1, LL_DMA_CHANNEL_4, LL_DMA_PERIPH_NOINCREMENT);

  LL_DMA_SetMemoryIncMode(DMA1, LL_DMA_CHANNEL_4, LL_DMA_MEMORY_INCREMENT);

  LL_DMA_SetPeriphSize(DMA1, LL_DMA_CHANNEL_4, LL_DMA_PDATAALIGN_HALFWORD);

  LL_DMA_SetMemorySize(DMA1, LL_DMA_CHANNEL_4, LL_DMA_MDATAALIGN_HALFWORD);

  TIM_InitStruct.Prescaler = 0;
  TIM_InitStruct.CounterMode = LL_TIM_COUNTERMODE_UP;
  TIM_InitStruct.Autoreload = 79;
  TIM_InitStruct.ClockDivision = LL_TIM_CLOCKDIVISION_DIV1;
  TIM_InitStruct.RepetitionCounter = 0;
  LL_TIM_Init(TIM1, &TIM_InitStruct);
  LL_TIM_DisableARRPreload(TIM1);
  LL_TIM_OC_EnablePreload(TIM1, LL_TIM_CHANNEL_CH4);
  TIM_OC_InitStruct.OCMode = LL_TIM_OCMODE_PWM1;
  TIM_OC_InitStruct.OCState = LL_TIM_OCSTATE_DISABLE;
  TIM_OC_InitStruct.OCNState = LL_TIM_OCSTATE_DISABLE;
  TIM_OC_InitStruct.CompareValue = 39;
  TIM_OC_InitStruct.OCPolarity = LL_TIM_OCPOLARITY_HIGH;
  TIM_OC_InitStruct.OCIdleState = LL_TIM_OCIDLESTATE_LOW;
  TIM_OC_InitStruct.OCNIdleState = LL_TIM_OCIDLESTATE_LOW;
  LL_TIM_OC_Init(TIM1, LL_TIM_CHANNEL_CH4, &TIM_OC_InitStruct);
  LL_TIM_OC_DisableFast(TIM1, LL_TIM_CHANNEL_CH4);
  LL_TIM_SetTriggerOutput(TIM1, LL_TIM_TRGO_RESET);
  LL_TIM_SetTriggerOutput2(TIM1, LL_TIM_TRGO2_RESET);
  LL_TIM_DisableMasterSlaveMode(TIM1);
  TIM_BDTRInitStruct.OSSRState = LL_TIM_OSSR_DISABLE;
  TIM_BDTRInitStruct.OSSIState = LL_TIM_OSSI_DISABLE;
  TIM_BDTRInitStruct.LockLevel = LL_TIM_LOCKLEVEL_OFF;
  TIM_BDTRInitStruct.DeadTime = 0;
  TIM_BDTRInitStruct.BreakState = LL_TIM_BREAK_DISABLE;
  TIM_BDTRInitStruct.BreakPolarity = LL_TIM_BREAK_POLARITY_HIGH;
  TIM_BDTRInitStruct.BreakFilter = LL_TIM_BREAK_FILTER_FDIV1;
  TIM_BDTRInitStruct.BreakAFMode = LL_TIM_BREAK_AFMODE_INPUT;
  TIM_BDTRInitStruct.Break2State = LL_TIM_BREAK2_DISABLE;
  TIM_BDTRInitStruct.Break2Polarity = LL_TIM_BREAK2_POLARITY_HIGH;
  TIM_BDTRInitStruct.Break2Filter = LL_TIM_BREAK2_FILTER_FDIV1;
  TIM_BDTRInitStruct.Break2AFMode = LL_TIM_BREAK_AFMODE_INPUT;
  TIM_BDTRInitStruct.AutomaticOutput = LL_TIM_AUTOMATICOUTPUT_DISABLE;
  LL_TIM_BDTR_Init(TIM1, &TIM_BDTRInitStruct);
  LL_IOP_GRP1_EnableClock(LL_IOP_GRP1_PERIPH_GPIOA);
  /**TIM1 GPIO Configuration
  PA11 [PA9]   ------> TIM1_CH4
  */
  GPIO_InitStruct.Pin = LED_LENT_0_Pin;
  GPIO_InitStruct.Mode = LL_GPIO_MODE_ALTERNATE;
  GPIO_InitStruct.Speed = LL_GPIO_SPEED_FREQ_HIGH;
  GPIO_InitStruct.OutputType = LL_GPIO_OUTPUT_OPENDRAIN;
  GPIO_InitStruct.Pull = LL_GPIO_PULL_NO;
  GPIO_InitStruct.Alternate = LL_GPIO_AF_2;
  LL_GPIO_Init(LED_LENT_0_GPIO_Port, &GPIO_InitStruct);

}

static void MX_TIM3_Init(void)
{

  LL_TIM_InitTypeDef TIM_InitStruct = {0};
  LL_TIM_OC_InitTypeDef TIM_OC_InitStruct = {0};

  LL_GPIO_InitTypeDef GPIO_InitStruct = {0};

  /* Peripheral clock enable */
  LL_APB1_GRP1_EnableClock(LL_APB1_GRP1_PERIPH_TIM3);

  TIM_InitStruct.Prescaler = 999;
  TIM_InitStruct.CounterMode = LL_TIM_COUNTERMODE_UP;
  TIM_InitStruct.Autoreload = 159;
  TIM_InitStruct.ClockDivision = LL_TIM_CLOCKDIVISION_DIV1;
  LL_TIM_Init(TIM3, &TIM_InitStruct);
  LL_TIM_DisableARRPreload(TIM3);
  LL_TIM_OC_EnablePreload(TIM3, LL_TIM_CHANNEL_CH1);
  TIM_OC_InitStruct.OCMode = LL_TIM_OCMODE_PWM1;
  TIM_OC_InitStruct.OCState = LL_TIM_OCSTATE_DISABLE;
  TIM_OC_InitStruct.OCNState = LL_TIM_OCSTATE_DISABLE;
  TIM_OC_InitStruct.CompareValue = 79;
  TIM_OC_InitStruct.OCPolarity = LL_TIM_OCPOLARITY_HIGH;
  LL_TIM_OC_Init(TIM3, LL_TIM_CHANNEL_CH1, &TIM_OC_InitStruct);
  LL_TIM_OC_DisableFast(TIM3, LL_TIM_CHANNEL_CH1);
  LL_TIM_SetTriggerOutput(TIM3, LL_TIM_TRGO_RESET);
  LL_TIM_DisableMasterSlaveMode(TIM3);
  LL_IOP_GRP1_EnableClock(LL_IOP_GRP1_PERIPH_GPIOA);
  /**TIM3 GPIO Configuration
  PA6   ------> TIM3_CH1
  */
  GPIO_InitStruct.Pin = LCD_BKLT_Pin;
  GPIO_InitStruct.Mode = LL_GPIO_MODE_ALTERNATE;
  GPIO_InitStruct.Speed = LL_GPIO_SPEED_FREQ_LOW;
  GPIO_InitStruct.OutputType = LL_GPIO_OUTPUT_PUSHPULL;
  GPIO_InitStruct.Pull = LL_GPIO_PULL_NO;
  GPIO_InitStruct.Alternate = LL_GPIO_AF_1;
  LL_GPIO_Init(LCD_BKLT_GPIO_Port, &GPIO_InitStruct);

}

static void MX_DMA_Init(void)
{

  /* Init with LL driver */
  /* DMA controller clock enable */
  LL_AHB1_GRP1_EnableClock(LL_AHB1_GRP1_PERIPH_DMA1);

  /* DMA interrupt init */
  /* DMA1_Channel1_IRQn interrupt configuration */
  NVIC_SetPriority(DMA1_Channel1_IRQn, 2);
  NVIC_EnableIRQ(DMA1_Channel1_IRQn);
  /* DMA1_Channel2_3_IRQn interrupt configuration */
  NVIC_SetPriority(DMA1_Channel2_3_IRQn, 1);
  NVIC_EnableIRQ(DMA1_Channel2_3_IRQn);
  /* DMA1_Ch4_5_DMAMUX1_OVR_IRQn interrupt configuration */
  NVIC_SetPriority(DMA1_Ch4_5_DMAMUX1_OVR_IRQn, 0);
  NVIC_EnableIRQ(DMA1_Ch4_5_DMAMUX1_OVR_IRQn);

}

static void MX_GPIO_Init(void)
{
  LL_EXTI_InitTypeDef EXTI_InitStruct = {0};
  LL_GPIO_InitTypeDef GPIO_InitStruct = {0};

  /* GPIO Ports Clock Enable */
  LL_IOP_GRP1_EnableClock(LL_IOP_GRP1_PERIPH_GPIOB);
  LL_IOP_GRP1_EnableClock(LL_IOP_GRP1_PERIPH_GPIOC);
  LL_IOP_GRP1_EnableClock(LL_IOP_GRP1_PERIPH_GPIOA);

  /**/
  LL_GPIO_SetOutputPin(LCD_DC_GPIO_Port, LCD_DC_Pin);

  /**/
  LL_GPIO_SetOutputPin(LED_INDICTR_GPIO_Port, LED_INDICTR_Pin);

  /**/
  LL_GPIO_SetOutputPin(LCD_CS_GPIO_Port, LCD_CS_Pin);

  /**/
  LL_GPIO_SetOutputPin(LCD_RES_GPIO_Port, LCD_RES_Pin);

  /**/
  LL_GPIO_SetOutputPin(SD_CS_GPIO_Port, SD_CS_Pin);

  /**/
  LL_EXTI_SetEXTISource(LL_EXTI_CONFIG_PORTB, LL_EXTI_CONFIG_LINE9);

  /**/
  LL_EXTI_SetEXTISource(LL_EXTI_CONFIG_PORTC, LL_EXTI_CONFIG_LINE15);

  /**/
  LL_EXTI_SetEXTISource(LL_EXTI_CONFIG_PORTA, LL_EXTI_CONFIG_LINE7);

  /**/
  EXTI_InitStruct.Line_0_31 = LL_EXTI_LINE_9;
  EXTI_InitStruct.LineCommand = ENABLE;
  EXTI_InitStruct.Mode = LL_EXTI_MODE_IT;
  EXTI_InitStruct.Trigger = LL_EXTI_TRIGGER_RISING_FALLING;
  LL_EXTI_Init(&EXTI_InitStruct);

  /**/
  EXTI_InitStruct.Line_0_31 = LL_EXTI_LINE_15;
  EXTI_InitStruct.LineCommand = ENABLE;
  EXTI_InitStruct.Mode = LL_EXTI_MODE_IT;
  EXTI_InitStruct.Trigger = LL_EXTI_TRIGGER_RISING_FALLING;
  LL_EXTI_Init(&EXTI_InitStruct);

  /**/
  EXTI_InitStruct.Line_0_31 = LL_EXTI_LINE_7;
  EXTI_InitStruct.LineCommand = ENABLE;
  EXTI_InitStruct.Mode = LL_EXTI_MODE_IT;
  EXTI_InitStruct.Trigger = LL_EXTI_TRIGGER_RISING_FALLING;
  LL_EXTI_Init(&EXTI_InitStruct);

  /**/
  LL_GPIO_SetPinPull(ENCODER_B_GPIO_Port, ENCODER_B_Pin, LL_GPIO_PULL_UP);

  /**/
  LL_GPIO_SetPinPull(ENCODER_C_GPIO_Port, ENCODER_C_Pin, LL_GPIO_PULL_UP);

  /**/
  LL_GPIO_SetPinPull(ENCODER_A_GPIO_Port, ENCODER_A_Pin, LL_GPIO_PULL_UP);

  /**/
  LL_GPIO_SetPinMode(ENCODER_B_GPIO_Port, ENCODER_B_Pin, LL_GPIO_MODE_INPUT);

  /**/
  LL_GPIO_SetPinMode(ENCODER_C_GPIO_Port, ENCODER_C_Pin, LL_GPIO_MODE_INPUT);

  /**/
  LL_GPIO_SetPinMode(ENCODER_A_GPIO_Port, ENCODER_A_Pin, LL_GPIO_MODE_INPUT);

  /**/
  GPIO_InitStruct.Pin = LCD_DC_Pin;
  GPIO_InitStruct.Mode = LL_GPIO_MODE_OUTPUT;
  GPIO_InitStruct.Speed = LL_GPIO_SPEED_FREQ_HIGH;
  GPIO_InitStruct.OutputType = LL_GPIO_OUTPUT_PUSHPULL;
  GPIO_InitStruct.Pull = LL_GPIO_PULL_NO;
  LL_GPIO_Init(LCD_DC_GPIO_Port, &GPIO_InitStruct);

  /**/
  GPIO_InitStruct.Pin = LED_INDICTR_Pin;
  GPIO_InitStruct.Mode = LL_GPIO_MODE_OUTPUT;
  GPIO_InitStruct.Speed = LL_GPIO_SPEED_FREQ_HIGH;
  GPIO_InitStruct.OutputType = LL_GPIO_OUTPUT_PUSHPULL;
  GPIO_InitStruct.Pull = LL_GPIO_PULL_UP;
  LL_GPIO_Init(LED_INDICTR_GPIO_Port, &GPIO_InitStruct);

  /**/
  GPIO_InitStruct.Pin = LCD_CS_Pin;
  GPIO_InitStruct.Mode = LL_GPIO_MODE_OUTPUT;
  GPIO_InitStruct.Speed = LL_GPIO_SPEED_FREQ_HIGH;
  GPIO_InitStruct.OutputType = LL_GPIO_OUTPUT_PUSHPULL;
  GPIO_InitStruct.Pull = LL_GPIO_PULL_UP;
  LL_GPIO_Init(LCD_CS_GPIO_Port, &GPIO_InitStruct);

  /**/
  GPIO_InitStruct.Pin = LCD_RES_Pin;
  GPIO_InitStruct.Mode = LL_GPIO_MODE_OUTPUT;
  GPIO_InitStruct.Speed = LL_GPIO_SPEED_FREQ_LOW;
  GPIO_InitStruct.OutputType = LL_GPIO_OUTPUT_PUSHPULL;
  GPIO_InitStruct.Pull = LL_GPIO_PULL_UP;
  LL_GPIO_Init(LCD_RES_GPIO_Port, &GPIO_InitStruct);

  /**/
  GPIO_InitStruct.Pin = SD_CS_Pin;
  GPIO_InitStruct.Mode = LL_GPIO_MODE_OUTPUT;
  GPIO_InitStruct.Speed = LL_GPIO_SPEED_FREQ_HIGH;
  GPIO_InitStruct.OutputType = LL_GPIO_OUTPUT_PUSHPULL;
  GPIO_InitStruct.Pull = LL_GPIO_PULL_UP;
  LL_GPIO_Init(SD_CS_GPIO_Port, &GPIO_InitStruct);

  /* EXTI interrupt init*/
  NVIC_SetPriority(EXTI4_15_IRQn, 0);
  NVIC_EnableIRQ(EXTI4_15_IRQn);

}

void Error_Handler(void)
{
  __disable_irq();
  while (1)
  {
  }
}
